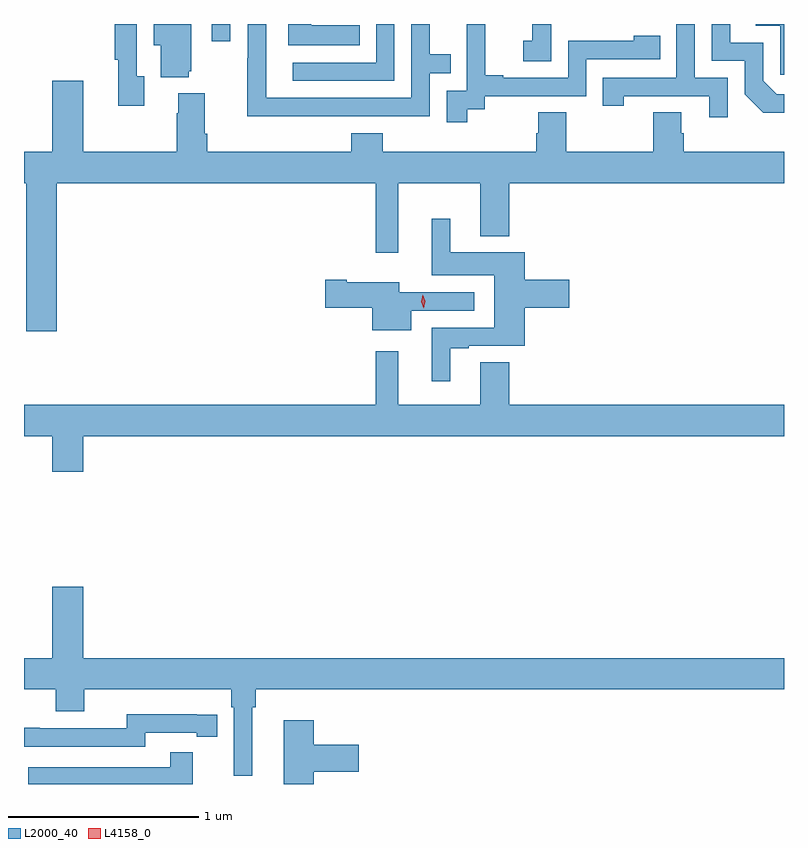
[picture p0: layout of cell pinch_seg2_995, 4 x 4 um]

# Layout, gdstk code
import gdstk
lib = gdstk.Library(unit=1e-6, precision=1e-09)
def R(c, l, rs):  # rectangles x0, y0, x1, y1
    for r in rs: c.add(gdstk.rectangle(r[:2], r[2:], *l))
def P(c, l, *ps):  # polygons
    for p in ps: c.add(gdstk.Polygon(p, *l))
L2000_40 = (2000, 40)
L4158_0 = (4158, 0)

pinch_seg2_995 = lib.new_cell('pinch_seg2_995')
R(pinch_seg2_995, L2000_40, [(357.657,603.093,357.753,603.185)])
P(pinch_seg2_995, L2000_40, [(358.307,602.7),(358.803,602.7),(358.803,602.925),(358.913,602.925),(358.913,603.026),(358.803,603.026),(358.803,603.185),(358.707,603.185),(358.707,602.796),(357.942,602.796),(357.942,603.185),(357.846,603.185),(357.846,603.005),(357.844,603.005),(357.844,602.699),(358.307,602.699)],
  [(357.536,602.937),(357.547,602.937),(357.547,603.185),(357.35,603.185),(357.35,603.074),(357.389,603.074),(357.389,602.906),(357.536,602.906)],
  [(357.301,602.91),(357.261,602.91),(357.261,603.185),(357.145,603.185),(357.145,602.998),(357.164,602.998),(357.164,602.754),(357.301,602.754)],
  [(360.668,602.814),(360.63,602.814),(360.558,602.886),(360.558,603.087),(360.385,603.087),(360.385,603.185),(360.288,603.185),(360.288,602.991),(360.462,602.991),(360.462,602.814),(360.56,602.717),(360.668,602.717)],
  [(358.436,603.178),(358.179,603.178),(358.179,603.185),(358.058,603.185),(358.058,603.074),(358.436,603.074)],
  [(359.002,602.737),(359.094,602.737),(359.094,602.805),(359.628,602.805),(359.628,603),(360.017,603),(360.017,603.123),(359.877,603.123),(359.877,603.096),(359.532,603.096),(359.532,602.901),(359.191,602.901),(359.191,602.914),(359.096,602.914),(359.096,603.185),(358.997,603.185),(358.997,603.065),(358.998,603.065),(358.998,602.835),(358.893,602.835),(358.893,602.667),(359.002,602.667)],
  [(358.617,603.185),(358.521,603.185),(358.521,602.982),(358.083,602.982),(358.083,602.886),(358.617,602.886)],
  [(360.372,602.901),(360.198,602.901),(360.198,603.185),(360.102,603.185),(360.102,602.901),(359.713,602.901),(359.713,602.754),(359.824,602.754),(359.824,602.805),(360.275,602.805),(360.275,602.694),(360.372,602.694)],
  [(359.442,603.185),(359.344,603.185),(359.344,603.097),(359.295,603.097),(359.295,602.988),(359.442,602.988)],
  [(360.668,603.185),(360.519,603.185),(360.519,603.177),(360.648,603.177),(360.648,602.919),(360.668,602.919)],
  [(356.84,602.348),(358.518,602.348),(358.518,601.98),(358.639,601.98),(358.639,602.348),(359.069,602.348),(359.069,602.069),(359.222,602.069),(359.222,602.348),(360.668,602.348),(360.668,602.512),(360.14,602.512),(360.14,602.61),(360.127,602.61),(360.127,602.72),(359.98,602.72),(359.98,602.512),(359.523,602.512),(359.523,602.72),(359.375,602.72),(359.375,602.61),(359.363,602.61),(359.363,602.512),(358.556,602.512),(358.556,602.611),(358.391,602.611),(358.391,602.512),(357.632,602.512),(357.632,602.608),(357.619,602.608),(357.619,602.821),(357.479,602.821),(357.479,602.714),(357.472,602.714),(357.472,602.512),(356.98,602.512),(356.98,602.887),(356.816,602.887),(356.816,602.512),(356.668,602.512),(356.668,602.348),(356.68,602.348),(356.68,601.569),(356.84,601.569)],
  [(358.912,601.479),(359.008,601.479),(359.008,601.491),(359.303,601.491),(359.303,601.691),(359.539,601.691),(359.539,601.838),(359.303,601.838),(359.303,601.984),(358.912,601.984),(358.912,602.161),(358.814,602.161),(358.814,601.862),(359.144,601.862),(359.144,601.587),(358.814,601.587),(358.814,601.305),(358.912,601.305)],
  [(358.705,601.677),(359.038,601.677),(359.038,601.773),(358.642,601.773),(358.642,601.825),(358.366,601.825),(358.366,601.838),(358.254,601.838),(358.254,601.691),(358.502,601.691),(358.502,601.574),(358.705,601.574)],
  [(356.98,601.016),(360.668,601.016),(360.668,601.18),(359.222,601.18),(359.222,601.406),(359.069,601.406),(359.069,601.18),(358.639,601.18),(358.639,601.462),(358.518,601.462),(358.518,601.18),(356.668,601.18),(356.668,601.016),(356.816,601.016),(356.816,600.828),(356.98,600.828)],
  [(357.868,599.588),(357.887,599.588),(357.887,599.684),(360.668,599.684),(360.668,599.848),(356.98,599.848),(356.98,600.223),(356.816,600.223),(356.816,599.848),(356.668,599.848),(356.668,599.684),(356.834,599.684),(356.834,599.567),(356.986,599.567),(356.986,599.684),(357.758,599.684),(357.758,599.588),(357.771,599.588),(357.771,599.229),(357.868,599.229)],
  [(357.306,599.454),(357.578,599.454),(357.578,599.434),(357.686,599.434),(357.686,599.55),(357.578,599.55),(357.578,599.551),(357.21,599.551),(357.21,599.478),(356.75,599.478),(356.75,599.48),(356.668,599.48),(356.668,599.382),(357.306,599.382)],
  [(358.193,599.249),(358.429,599.249),(358.429,599.391),(358.193,599.391),(358.193,599.521),(358.034,599.521),(358.034,599.185),(358.193,599.185)],
  [(357.557,599.353),(357.439,599.353),(357.439,599.274),(356.691,599.274),(356.691,599.185),(357.557,599.185)])
P(pinch_seg2_995, L4158_0, [(358.772,601.688),(358.76,601.723),(358.767,601.759),(358.767,601.759),(358.767,601.759),(358.78,601.725),(358.773,601.688),(358.773,601.688)])

lib.write_gds('pinch_seg2_995.gds')
